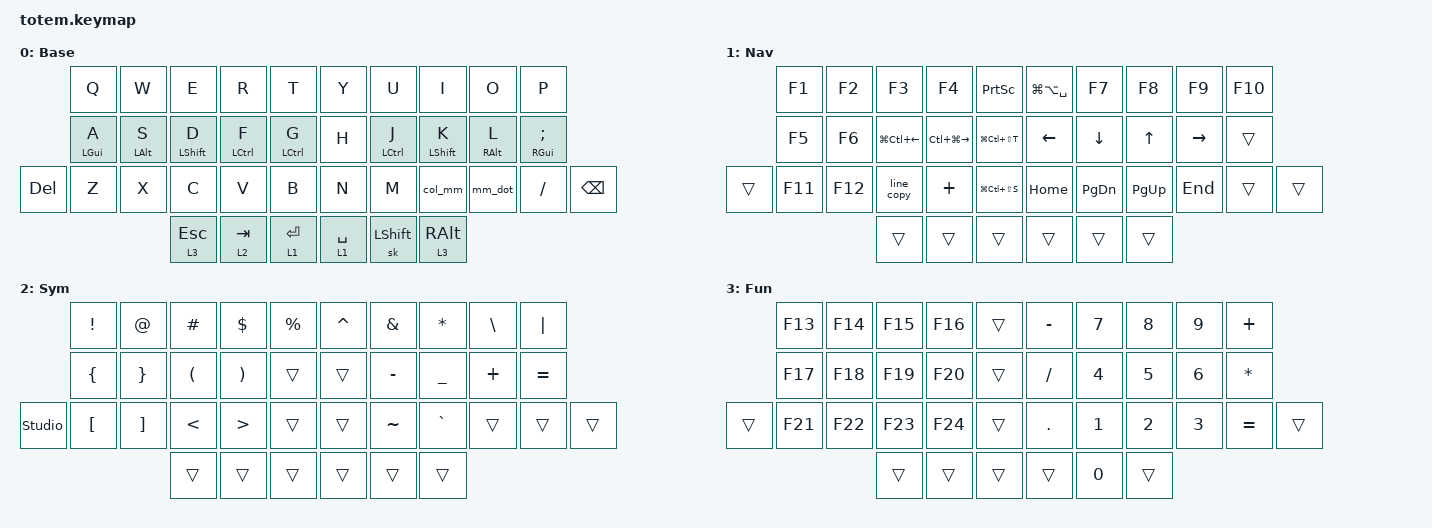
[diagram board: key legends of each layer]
//
//                                                        ▀▀▀▀▀     ▀▀▀▀▀          ▀▀█▀▀
//                                                        ▄▀▀▀▄  ▄  ▄▀▀▀▄  ▄  ▄▀▀▀▄  █  ▄▀▀▀▄
//                                                        █   █  █  █   █  █  █   █  █  █   █
//                                                         ▀▀▀   █   ▀▀▀   █   ▀▀▀   ▀   ▀▀▀
//                                                               █      ▄▄▄█▄▄▄    █   █  
//                                                               ▀      █  █  █     █▄█
//                                                             ▀▀▀▀▀    █  █  █      ▀
//                                                                      ▀  ▀  ▀
//
// ▄▄▄▄▄▄▄▄▄▄▄▄▄▄▄▄▄▄▄▄▄▄▄▄▄▄▄▄▄▄▄▄▄▄▄▄▄▄▄▄▄▄▄▄▄▄▄▄▄▄▄▄▄▄▄▄▄▄▄▄▄▄▄▄▄▄▄▄▄▄▄▄▄▄▄▄▄▄▄▄▄▄▄▄▄▄▄▄▄▄▄▄▄▄▄▄▄▄▄▄▄▄▄▄▄▄▄▄▄▄▄▄▄▄▄▄▄▄▄▄▄▄▄▄▄▄▄▄▄▄▄▄▄▄▄▄▄▄▄▄▄▄▄▄▄▄▄▄▄

#include <behaviors.dtsi>
#include <dt-bindings/zmk/keys.h>

#define Base        0
#define Nav         1
#define Sym         2
#define Fun         3
#define Game        4
#define Gameplus    5

&mt {
    quick-tap-ms = <100>;
    global-quick-tap;
    flavor = "tap-preferred";
    tapping-term-ms = <170>;
};

&lt {
    tapping-term-ms = <240>;
    flavor = "balanced";
    quick-tap-ms = <150>;
};

/ {
    behaviors {
        hm: homerow_mods {
            compatible = "zmk,behavior-hold-tap";
            label = "HOMEROW_MODS";
            #binding-cells = <2>;
            flavor = "tap-preferred";
            tapping-term-ms = <200>;
            quick-tap-ms = <125>;
            global-quick-tap;
            bindings = <&kp>, <&kp>;
        };

        col_mm: col_mm {
            compatible = "zmk,behavior-mod-morph";
            label = ",’";
            bindings = <&kp COMMA>, <&kp SINGLE_QUOTE>;

            #binding-cells = <0>;
            mods = <(MOD_LSFT|MOD_RSFT)>;
        };

        mm_dot: mm_dot {
            compatible = "zmk,behavior-mod-morph";
            label = ".”";
            bindings = <&kp DOT>, <&kp DOUBLE_QUOTES>;

            #binding-cells = <0>;
            mods = <(MOD_LSFT|MOD_RSFT)>;
        };
    };

    combos { compatible = "zmk,combos"; };

    macros {
        line_copy: line_copy {
            compatible = "zmk,behavior-macro";
            #binding-cells = <0>;
            bindings = <&kp HOME &kp LS(END) &kp LC(C)>;
            label = "LINE_COPY";
        };
    };

    keymap {
        compatible = "zmk,keymap";

        Base {
            display-name = "Base";
            bindings = <
         &kp Q       &kp W       &kp E             &kp R        &kp T          &kp Y        &kp U        &kp I            &kp O       &kp P
         &hm LGUI A  &hm LALT S  &hm LEFT_SHIFT D  &hm LCTRL F  &hm LCTRL G    &kp H        &hm LCTRL J  &hm LSHFT K      &hm RALT L  &hm RGUI SEMICOLON
&kp DEL  &kp Z       &kp X       &kp C             &kp V        &kp B          &kp N        &kp M        &col_mm          &mm_dot     &kp SLASH           &kp BACKSPACE
                                 &lt 3 ESC         &lt 2 TAB    &lt 1 ENTER    &lt 1 SPACE  &sk LSHIFT   &lt 3 RIGHT_ALT
            >;
        };

        Nav {
            display-name = "Nav";
            bindings = <
        &kp F1   &kp F2   &kp F3            &kp F4             &kp PRINTSCREEN      &kp LG(LA(SPACE))  &kp F7         &kp F8       &kp F9     &kp F10
        &kp F5   &kp F6   &kp LG(LC(LEFT))  &kp LC(LG(RIGHT))  &kp LG(LC(LS(T)))    &kp LEFT           &kp DOWN       &kp UP       &kp RIGHT  &trans
&trans  &kp F11  &kp F12  &line_copy        &kp PLUS           &kp LG(LC(LS(S)))    &kp HOME           &kp PAGE_DOWN  &kp PAGE_UP  &kp END    &trans   &trans
                          &trans            &trans             &trans               &trans             &trans         &trans
            >;
        };

        Sym {
            display-name = "Sym";
            bindings = <
                &kp EXCL          &kp AT             &kp HASH              &kp DOLLAR             &kp PERCENT    &kp CARET  &kp AMPERSAND  &kp STAR        &kp BACKSLASH  &kp PIPE
                &kp LEFT_BRACE    &kp RIGHT_BRACE    &kp LEFT_PARENTHESIS  &kp RIGHT_PARENTHESIS  &trans         &trans     &kp MINUS      &kp UNDERSCORE  &kp PLUS       &kp EQUAL
&studio_unlock  &kp LEFT_BRACKET  &kp RIGHT_BRACKET  &kp LESS_THAN         &kp GREATER_THAN       &trans         &trans     &kp TILDE      &kp GRAVE       &trans         &trans     &trans
                                                     &trans                &trans                 &trans         &trans     &trans         &trans
            >;
        };

        Fun {
            display-name = "Fun";
            bindings = <
        &kp F13  &kp F14  &kp F15  &kp F16  &trans    &kp MINUS   &kp NUMBER_7  &kp NUMBER_8  &kp NUMBER_9  &kp PLUS
        &kp F17  &kp F18  &kp F19  &kp F20  &trans    &kp SLASH   &kp NUMBER_4  &kp NUMBER_5  &kp NUMBER_6  &kp ASTERISK
&trans  &kp F21  &kp F22  &kp F23  &kp F24  &trans    &kp PERIOD  &kp NUMBER_1  &kp NUMBER_2  &kp NUMBER_3  &kp EQUAL     &trans
                          &trans   &trans   &trans    &trans      &kp NUMBER_0  &trans
            >;
        };
    };
};
